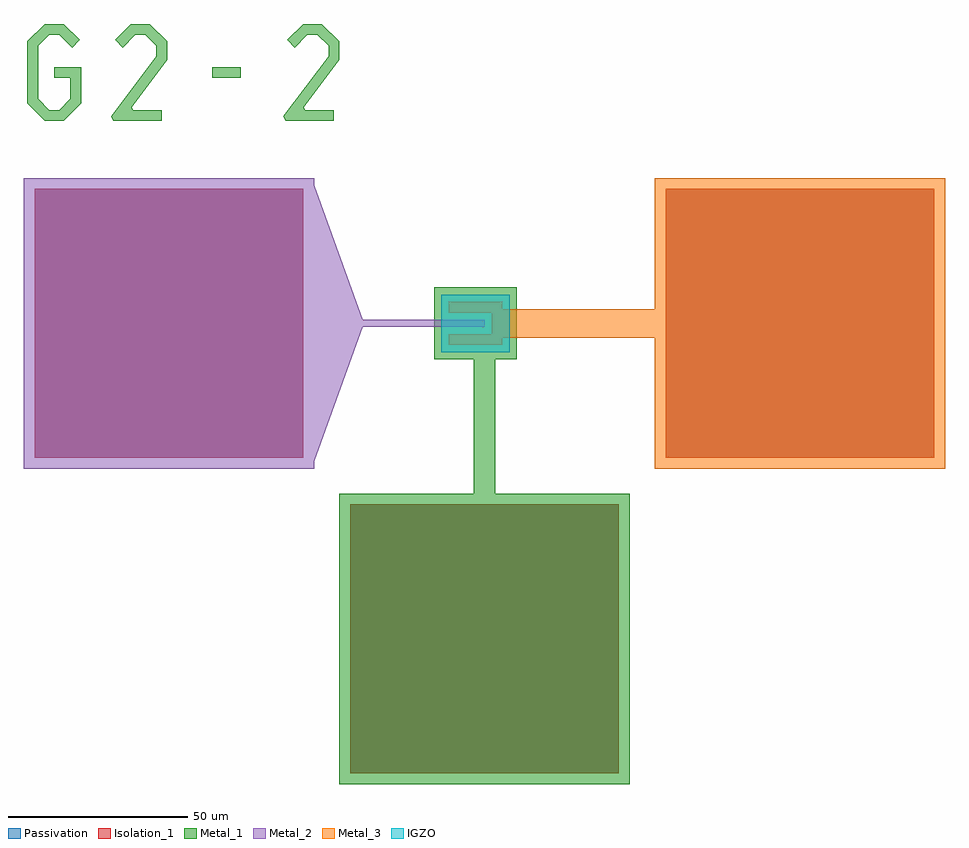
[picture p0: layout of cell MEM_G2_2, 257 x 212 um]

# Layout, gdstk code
import gdstk
lib = gdstk.Library(unit=1e-6, precision=1e-09)
def R(c, l, rs):  # rectangles x0, y0, x1, y1
    for r in rs: c.add(gdstk.rectangle(r[:2], r[2:], *l))
def P(c, l, *ps):  # polygons
    for p in ps: c.add(gdstk.Polygon(p, *l))
Metal_1 = (1, 0)
Isolation_1 = (2, 0)
Metal_2 = (3, 0)
IGZO = (4, 0)
Metal_3 = (5, 0)
Passivation = (6, 0)

mem_g2_2 = lib.new_cell('MEM_G2_2')
R(mem_g2_2, Metal_1, [(87.5,-0.5,168.5,80.5), (52,196.5,60,199.5)])
P(mem_g2_2, Metal_1, [(24.499,184.5),(23.9,185.7),(36.5,202.5),(36.5,205.378),(33.378,208.5),(30.622,208.5),(27.061,204.939),(24.939,207.061),(29.378,211.5),(34.622,211.5),(39.5,206.622),(39.5,201.5),(29.6,188.3),(30,187.5),(38,187.5),(38,184.5)],
  [(72.499,184.5),(71.9,185.7),(84.5,202.5),(84.5,205.378),(81.378,208.5),(78.622,208.5),(75.061,204.939),(72.939,207.061),(77.378,211.5),(82.622,211.5),(87.5,206.622),(87.5,201.5),(77.6,188.3),(78,187.5),(86,187.5),(86,184.5)],
  [(5.378,184.5),(0.5,189.378),(0.5,206.622),(5.378,211.5),(10.622,211.5),(15.061,207.061),(12.939,204.939),(9.378,208.5),(6.622,208.5),(3.5,205.378),(3.5,190.622),(6.622,187.5),(9.378,187.5),(12.5,190.622),(12.5,196.5),(8,196.5),(8,199.5),(15.5,199.5),(15.5,189.378),(10.622,184.5)],
  [(88,0),(88,80),(125,80),(125,118),(114,118),(114,138),(137,138),(137,118),(131,118),(131,80),(168,80),(168,0)])
R(mem_g2_2, Isolation_1, [(90.5,2.5,165.5,77.5), (2.5,90.5,77.5,165.5), (178.5,90.5,253.5,165.5)])
R(mem_g2_2, Metal_2, [(-0.5,87.5,80.5,168.5), (0,88,80,168)])
P(mem_g2_2, Metal_2, [(80,88),(80,168),(94,129),(128,129),(128,127),(94,127)])
R(mem_g2_2, IGZO, [(116,120,135,136)])
R(mem_g2_2, Metal_3, [(175.5,87.5,256.5,168.5)])
P(mem_g2_2, Metal_3, [(176,88),(176,124),(133,124),(133,122),(118,122),(118,125),(130,125),(130,131),(118,131),(118,134),(133,134),(133,132),(176,132),(176,168),(256,168),(256,88)])
R(mem_g2_2, Passivation, [(90.5,2.5,165.5,77.5), (2.5,90.5,77.5,165.5), (178.5,90.5,253.5,165.5)])

lib.write_gds('MEM_G2_2.gds')
